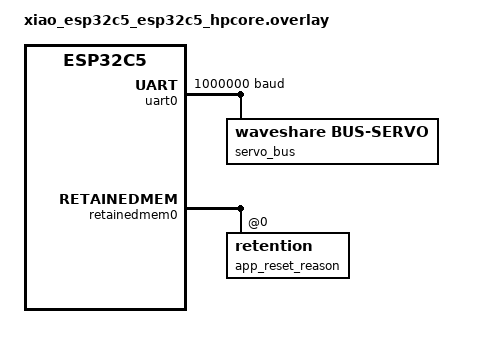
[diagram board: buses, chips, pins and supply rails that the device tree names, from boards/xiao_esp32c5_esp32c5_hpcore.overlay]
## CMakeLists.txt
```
cmake_minimum_required(VERSION 3.20.0)

find_package(Zephyr REQUIRED HINTS $ENV{ZEPHYR_BASE})
project(pt_mcp)

# Shared application code (see applications/common/).
include(${CMAKE_CURRENT_LIST_DIR}/../common/build_id/build_id.cmake)
include(${CMAKE_CURRENT_LIST_DIR}/../common/watchdog/watchdog.cmake)

target_sources(app PRIVATE
  src/main.c
)
```

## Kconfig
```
mainmenu "Application options"

rsource "../common/build_id/Kconfig"
rsource "../common/watchdog/Kconfig"

source "Kconfig.zephyr"
```

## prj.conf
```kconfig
# Application
CONFIG_MAIN_STACK_SIZE=4096
CONFIG_SYSTEM_WORKQUEUE_STACK_SIZE=4096
CONFIG_HEAP_MEM_POOL_SIZE=65536
CONFIG_SHELL=y
CONFIG_REBOOT=y

# Logging
CONFIG_LOG=y
CONFIG_CBPRINTF_FP_SUPPORT=y

# Pan/tilt: UART bus servos exposed as actuators
CONFIG_ACTUATOR=y
CONFIG_ACTUATOR_SHELL=y
CONFIG_BUS_SERVO=y
CONFIG_ACTUATOR_BUS_SERVO=y
CONFIG_UART_INTERRUPT_DRIVEN=y

# Flash and Settings
CONFIG_FLASH=y
CONFIG_FLASH_MAP=y
CONFIG_ZMS=y
CONFIG_SETTINGS=y

# Firmware upgrade (MCUboot OTA receiver)
CONFIG_STREAM_FLASH=y
CONFIG_IMG_MANAGER=y
CONFIG_IMG_ERASE_PROGRESSIVELY=y
CONFIG_MCUBOOT_IMG_MANAGER=y

# MCUmgr: SMP over UDP for OTA image upload and OS management
CONFIG_ZCBOR=y
CONFIG_MCUMGR=y
CONFIG_MCUMGR_GRP_IMG=y
CONFIG_MCUMGR_GRP_OS=y
CONFIG_MCUMGR_TRANSPORT_UDP=y

# MCP Server library
CONFIG_MCP_SERVER=y
CONFIG_MCP_MAX_TOOLS=2
CONFIG_MCP_REQUEST_WORKERS=2

# The MCP slabs are static DRAM, sized by default for 5 requests in flight per
# client: 22 x 2 KB large + 20 x 1 KB medium blocks, ~65 KB, which on its own
# pushed this image past the C5's DRAM. One tool with small messages does not
# need 5 in flight. Kept on upstream's sizing rule (see the slab help in
# subsys/net/lib/mcp/Kconfig) with its margin of 5:
#   large  = MAX_CLIENTS(3) * CLIENT_REQUESTS(3) + REQUEST_WORKERS(2) + 5 = 16
#   medium = MAX_CLIENTS(3) * CLIENT_REQUESTS(3) + 5                     = 14
# Raising CLIENT_REQUESTS means raising both counts with it.
CONFIG_MCP_MAX_CLIENT_REQUESTS=3
CONFIG_MCP_SLAB_LARGE_COUNT=16
CONFIG_MCP_SLAB_MEDIUM_COUNT=14
CONFIG_MCP_SERVER_INFO_TITLE=y
CONFIG_MCP_TOOL_DESC=y
CONFIG_MCP_TOOL_TITLE=y

# MCP HTTP transport
CONFIG_MCP_HTTP_LOG_ADDRESS=y
CONFIG_MCP_HTTP_PORT=8080
CONFIG_MCP_HTTP_ENDPOINT="/mcp"
CONFIG_HTTP_SERVER_MAX_CLIENTS=3
CONFIG_HTTP_SERVER_MAX_STREAMS=3
CONFIG_HTTP_SERVER_MAX_HEADER_LEN=38

# mDNS
CONFIG_MDNS_RESPONDER=y
CONFIG_NET_HOSTNAME_ENABLE=y
CONFIG_NET_HOSTNAME="pt-mcp"

# Networking
CONFIG_NETWORKING=y
CONFIG_NET_DHCPV4=y
CONFIG_NET_IPV4=y
CONFIG_NET_L2_ETHERNET=y
CONFIG_NET_L2_WIFI_MGMT=y
CONFIG_NET_L2_WIFI_SHELL=y
CONFIG_NET_SHELL=y
CONFIG_WIFI=y
CONFIG_WIFI_CREDENTIALS=y
CONFIG_WIFI_CREDENTIALS_BACKEND_SETTINGS=y
CONFIG_WIFI_STA_AUTO_DHCPV4=y

# WiFi connection management: conn_mgr + the CONNECTIVITY_WIFI_MGMT
# implementation from the rosterloh-drivers module. Auto-connects at boot
# using stored credentials; provision with: wifi cred add -s <ssid> -k 1 -p <psk>
CONFIG_NET_CONNECTION_MANAGER=y
CONFIG_NET_CONNECTION_MANAGER_CONNECTIVITY_WIFI_MGMT=y
CONFIG_WIFI_CONNECTIVITY=y

# The MCP server must answer inbound requests promptly; keep the radio awake.
CONFIG_WIFI_CONNECTIVITY_DISABLE_POWER_SAVE=y
```

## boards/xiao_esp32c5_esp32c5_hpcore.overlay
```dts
/ {
	aliases {
		pan-servo = &pan_servo;
		tilt-servo = &tilt_servo;
	};
};

/* Pan/tilt bus servos on the XIAO's UART pins (TX GPIO11 / RX GPIO12).
 * Servo IDs and limits match the Waveshare pan-tilt module as used on
 * the rasprover gimbal.
 */
&uart0 {
	current-speed = <1000000>;

	servo_bus: bus-servo {
		compatible = "waveshare,bus-servo";
		#address-cells = <1>;
		#size-cells = <0>;
		status = "okay";

		tilt_servo: servo@1 {
			compatible = "rosterloh,actuator-bus-servo";
			reg = <1>;
			label = "Tilt";
			default-mode = "position";
			ticks-per-rev = <4096>;
			rad-zero-tick = <2047>;
			position-min-rad-milli = <(-524)>;
			position-max-rad-milli = <1571>;
			invert-position;
			speed = <300>;
			accel = <20>;
		};

		pan_servo: servo@2 {
			compatible = "rosterloh,actuator-bus-servo";
			reg = <2>;
			label = "Pan";
			default-mode = "position";
			ticks-per-rev = <4096>;
			rad-zero-tick = <2047>;
			position-min-rad-milli = <(-3142)>;
			position-max-rad-milli = <3142>;
			speed = <300>;
			accel = <20>;
		};
	};
};

/* Reset-reason record (applications/common/reset_reason) at the start of the
 * SoC's retained LP SRAM, which software and watchdog resets leave intact.
 */
&retainedmem0 {
	app_reset_reason: retention@0 {
		compatible = "zephyr,retention";
		reg = <0x0 0x40>;
		prefix = [52 53 54 52];
		checksum = <2>;
	};
};
```

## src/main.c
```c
#include <stdlib.h>
#include <string.h>

#include <zephyr/kernel.h>
#include <zephyr/app_version.h>
#include <zephyr/device.h>
#include <zephyr/devicetree.h>
#include <zephyr/actuator/actuator.h>
#include <zephyr/actuator/actuator_group.h>
#include <zephyr/net/mcp/mcp_server.h>
#include <zephyr/net/mcp/mcp_server_http.h>

#include <drivers/bus_servo.h>

#include "app_watchdog.h"

#include <zephyr/logging/log.h>
LOG_MODULE_REGISTER(pt_mcp, LOG_LEVEL_INF);

#define SERVO_BUS_NODE DT_NODELABEL(servo_bus)

static const struct device *const pan = DEVICE_DT_GET(DT_ALIAS(pan_servo));
static const struct device *const tilt = DEVICE_DT_GET(DT_ALIAS(tilt_servo));

/* Group so a combined pan+tilt setpoint is issued as one atomic bus write
 * (native sync-write) rather than two back-to-back single-servo writes, which
 * the bus servos can drop. Index order: [0]=pan, [1]=tilt.
 */
ACTUATOR_GROUP_DEFINE(pan_tilt, DEVICE_DT_GET(DT_ALIAS(pan_servo)),
		      DEVICE_DT_GET(DT_ALIAS(tilt_servo)));

/* Stall detection follows data_collection's shape: main() returns once the
 * server is up, so there is no loop to feed from. A "boot" channel covers
 * main(), and a "tool" channel covers each tool call -- the only steady-state
 * path that touches the servo bus. A call wedged on the bus never reaches its
 * delete and the timeout fires, rather than silently consuming one of the
 * MCP_REQUEST_WORKERS until the server stops answering.
 *
 * A call is a handful of bus transactions, each bounded by the 50 ms
 * rx_timeout in motors_init(), so 5 s is generous. The boot window covers
 * servo bring-up and the HTTP server start; WiFi connects asynchronously
 * under conn_mgr and is not inside it. */
#define BOOT_WDT_TIMEOUT_MS 30000
#define TOOL_WDT_TIMEOUT_MS 5000

static mcp_server_ctx_t server;
static bool motors_ready;

/* Minimal extractors for the flat JSON argument objects MCP hands us. */
static const char *json_value_start(const char *json, const char *key)
{
	char pattern[16];
	const char *pos;

	if (json == NULL) {
		return NULL;
	}

	snprintk(pattern, sizeof(pattern), "\"%s\"", key);
	pos = strstr(json, pattern);
	if (pos == NULL) {
		return NULL;
	}

	pos = strchr(pos + strlen(pattern), ':');
	if (pos == NULL) {
		return NULL;
	}
	pos++;

	while ((*pos == ' ') || (*pos == '\t') || (*pos == '\n') || (*pos == '\r')) {
		pos++;
	}

	return pos;
}

static bool json_get_number(const char *json, const char *key, float *out)
{
	const char *start = json_value_start(json, key);
	char *end;
	float value;

	if (start == NULL) {
		return false;
	}

	value = strtof(start, &end);
	if (end == start) {
		return false;
	}

	*out = value;
	return true;
}

static bool json_string_equals(const char *json, const char *key, const char *expected)
{
	const char *start = json_value_start(json, key);
	size_t len = strlen(expected);

	if ((start == NULL) || (*start != '"')) {
		return false;
	}

	return (strncmp(start + 1, expected, len) == 0) && (start[1 + len] == '"');
}

static int submit_text(const char *text, const char *execution_token)
{
	struct mcp_tool_message response = {
		.type = MCP_USR_TOOL_RESPONSE,
		.data = (char *)text,
		.length = strlen(text),
	};

	return mcp_server_submit_tool_message(server, &response, execution_token);
}

static int motor_control(enum mcp_tool_event_type event, const char *arguments,
			 const char *execution_token)
{
	char buf[128];
	int ret;

	if (event == MCP_TOOL_CANCEL_REQUEST) {
		struct mcp_tool_message cancel_ack = {
			.type = MCP_USR_TOOL_CANCEL_ACK,
			.data = NULL,
			.length = 0,
		};

		mcp_server_submit_tool_message(server, &cancel_ack, execution_token);
		return 0;
	}

	if (!motors_ready) {
		submit_text("Motors not initialized", execution_token);
		return -ENODEV;
	}

	if (json_string_equals(arguments, "action", "get")) {
		struct actuator_feedback pan_fb;
		struct actuator_feedback tilt_fb;

		if ((actuator_read_feedback(pan, &pan_fb) != 0) ||
		    !(pan_fb.valid_mask & ACTUATOR_FB_POSITION) ||
		    (actuator_read_feedback(tilt, &tilt_fb) != 0) ||
		    !(tilt_fb.valid_mask & ACTUATOR_FB_POSITION)) {
			submit_text("Failed to read motor positions", execution_token);
			return -EIO;
		}

		snprintk(buf, sizeof(buf), "{\"pan\":%.3f,\"tilt\":%.3f}", (double)pan_fb.position,
			 (double)tilt_fb.position);
	} else if (json_string_equals(arguments, "action", "set")) {
		float pan_rad;
		float tilt_rad;
		bool have_pan = json_get_number(arguments, "pan", &pan_rad);
		bool have_tilt = json_get_number(arguments, "tilt", &tilt_rad);

		if (!have_pan && !have_tilt) {
			submit_text("Set requires \"pan\" and/or \"tilt\" (radians)",
				    execution_token);
			return -EINVAL;
		}

		if (have_pan && have_tilt) {
			float pos[2] = {pan_rad, tilt_rad};

			ret = actuator_group_set_position(&pan_tilt, pos);
		} else if (have_pan) {
			ret = actuator_set_position(pan, pan_rad);
		} else {
			ret = actuator_set_position(tilt, tilt_rad);
		}
		if (ret != 0) {
			snprintk(buf, sizeof(buf), "Motor setpoint failed: %d", ret);
			submit_text(buf, execution_token);
			return ret;
		}

		ret = snprintk(buf, sizeof(buf), "Moving:");
		if (have_pan) {
			ret += snprintk(buf + ret, sizeof(buf) - ret, " pan=%.3f", (double)pan_rad);
		}
		if (have_tilt) {
			snprintk(buf + ret, sizeof(buf) - ret, " tilt=%.3f", (double)tilt_rad);
		}
	} else {
		submit_text("Invalid action. Use: get or set", execution_token);
		return -EINVAL;
	}

	return submit_text(buf, execution_token);
}

static int motor_control_tool_callback(enum mcp_tool_event_type event, const char *arguments,
				       const char *execution_token)
{
	int wdt_channel = app_watchdog_register("tool", TOOL_WDT_TIMEOUT_MS);
	int ret = motor_control(event, arguments, execution_token);

	app_watchdog_unregister(wdt_channel);
	return ret;
}

static const struct mcp_tool_record motor_control_tool = {
	.metadata =
		{
			.name = "motor_control",
			.input_schema = "{"
					"\"type\":\"object\","
					"\"properties\":{"
					"\"action\":{"
					"\"type\":\"string\","
					"\"enum\":[\"get\",\"set\"],"
					"\"description\":\"Read or command the motor positions\""
					"},"
					"\"pan\":{"
					"\"type\":\"number\","
					"\"description\":\"Pan setpoint in radians (set only)\""
					"},"
					"\"tilt\":{"
					"\"type\":\"number\","
					"\"description\":\"Tilt setpoint in radians (set only)\""
					"}"
					"},"
					"\"required\":[\"action\"]"
					"}",
#ifdef CONFIG_MCP_TOOL_DESC
			.description = "Gets or sets the pan/tilt motor positions in radians",
#endif
#ifdef CONFIG_MCP_TOOL_TITLE
			.title = "Motor Control Tool",
#endif
		},
	.callback = motor_control_tool_callback,
};

static bool motors_init(void)
{
	struct bus_servo_iface_param param = {
		.rx_timeout_us = 50000,
		.serial =
			{
				.baud = DT_PROP(DT_PARENT(SERVO_BUS_NODE), current_speed),
				.parity = UART_CFG_PARITY_NONE,
			},
	};
	int iface = bus_servo_iface_get_by_name(DEVICE_DT_NAME(SERVO_BUS_NODE));

	if ((iface < 0) || (bus_servo_init(iface, param) != 0)) {
		LOG_ERR("servo bus init failed");
		return false;
	}

	if (!device_is_ready(pan) || !device_is_ready(tilt)) {
		LOG_ERR("servo devices not ready");
		return false;
	}

	if ((actuator_enable(pan) != 0) || (actuator_enable(tilt) != 0)) {
		LOG_ERR("servo enable failed");
		return false;
	}

	LOG_INF("pan/tilt motors ready");
	return true;
}

static int app_start(void)
{
	int ret;

	motors_ready = motors_init();
	if (!motors_ready) {
		LOG_WRN("motor_control tool will report errors until motors are available");
	}

	server = mcp_server_init();
	if (server == NULL) {
		LOG_ERR("MCP server initialization failed");
		return -ENOMEM;
	}

	ret = mcp_server_http_init(server);
	if (ret != 0) {
		LOG_ERR("MCP HTTP server initialization failed: %d", ret);
		return ret;
	}

	ret = mcp_server_add_tool(server, &motor_control_tool);
	if (ret != 0) {
		LOG_ERR("motor_control tool registration failed: %d", ret);
		return ret;
	}

	ret = mcp_server_start(server);
	if (ret != 0) {
		LOG_ERR("MCP server start failed: %d", ret);
		return ret;
	}

	ret = mcp_server_http_start(server);
	if (ret != 0) {
		LOG_ERR("MCP HTTP server start failed: %d", ret);
		return ret;
	}

	LOG_INF("MCP server running on port %d%s", CONFIG_MCP_HTTP_PORT, CONFIG_MCP_HTTP_ENDPOINT);

	return 0;
}

int main(void)
{
	int wdt_channel;
	int ret;

	LOG_INF("pt_mcp %s", APP_VERSION_STRING);

	app_watchdog_init();
	wdt_channel = app_watchdog_register("boot", BOOT_WDT_TIMEOUT_MS);

	ret = app_start();

	/* Deleted on every path, success included: nothing feeds it after
	 * main() returns, and an unfed channel is a reboot timer. */
	app_watchdog_unregister(wdt_channel);

	return ret;
}
```
